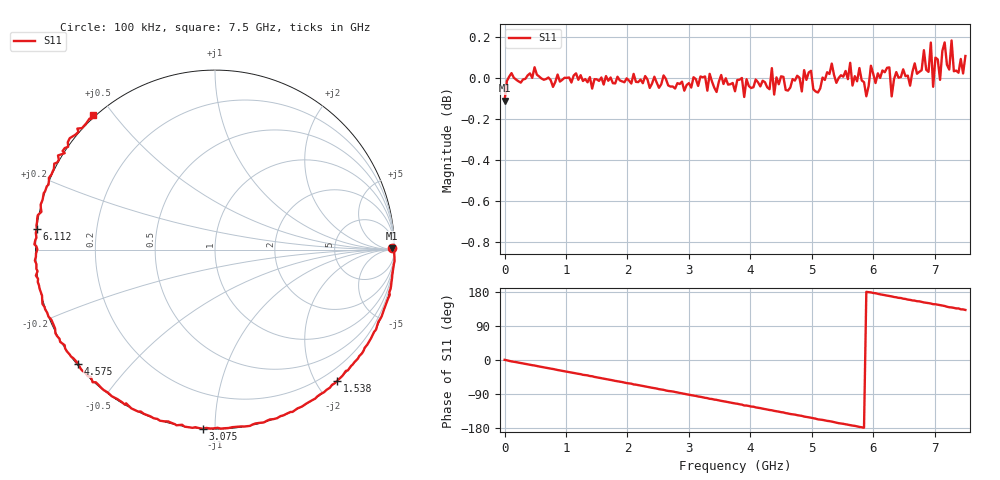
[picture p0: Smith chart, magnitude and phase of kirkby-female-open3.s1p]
# Hz S DB R 50.000000
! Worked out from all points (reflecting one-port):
!   201 points, 100 kHz to 7.5 GHz, reference 50 ohm
!   lowest |S11| = -0.1 dB at 100 kHz (marker M1), VSWR 156.42, Z = 5.52e+03 + j3.56e+03 ohm
!   phase of S11 starts at 0 deg and turns -228 deg over the sweep
!   S11 on the Smith chart (normalised r, x): 100 kHz: open; 1.538 GHz: 0.01, -2.30; 3.075 GHz: -0.00, -0.94; 4.575 GHz: 0.00, -0.36; 6.112 GHz: 0.00, +0.06; 7.5 GHz: -0.01, +0.44
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100000  -0.11 0.5
1.12597e8  0.02 -3.7
4.87587e8  0.05 -14.5
9.37575e8  -0.01 -28.6
1.237567e9  0.01 -37.3
1.537559e9  -0.02 -46.9
1.87505e9  -0.01 -57.1
2.287539e9  0.01 -69.8
2.812525e9  -0.03 -85.7
3.075018e9  0.00 -93.8
3.525006e9  0.01 -107.8
3.75e9  -0.07 -114.7
4.349984e9  0.05 -132.7
4.574978e9  -0.06 -140.1
4.687475e9  -0.01 -143.4
5.24996e9  0.03 -160.6
5.62495e9  0.07 -171.8
6.112437e9  -0.00 173.3
6.562425e9  0.01 159.4
6.937415e9  0.17 149.0
6.974914e9  -0.04 147.3
7.012413e9  0.10 147.1
7.162409e9  0.17 142.5
7.237407e9  0.04 139.2
7.274906e9  0.18 138.7
7.387403e9  0.02 136.2
7.424902e9  0.09 133.8
7.4999e9  0.11 132.1
